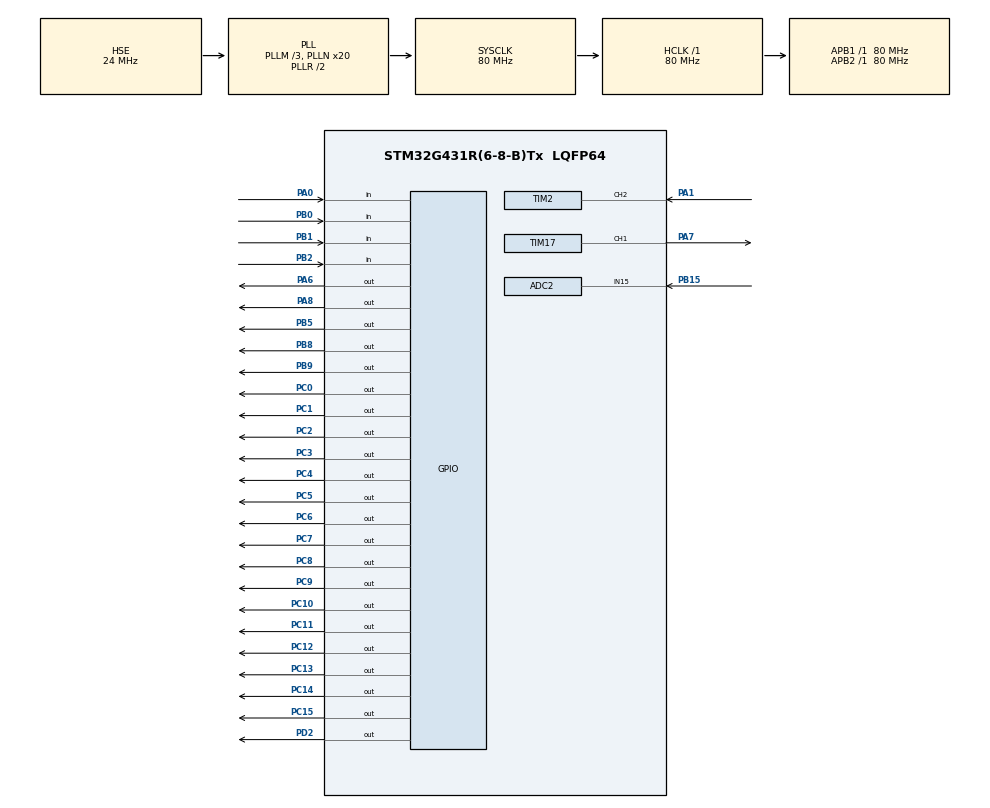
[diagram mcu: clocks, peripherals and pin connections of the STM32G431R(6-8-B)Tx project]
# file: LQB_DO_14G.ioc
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ADC2.Channel-0\#ChannelRegularConversion=ADC_CHANNEL_15
ADC2.NbrOfConversionFlag=1
ADC2.OffsetNumber-0\#ChannelRegularConversion=ADC_OFFSET_NONE
ADC2.Rank-0\#ChannelRegularConversion=1
ADC2.SamplingTime-0\#ChannelRegularConversion=ADC_SAMPLETIME_2CYCLES_5
Mcu.Family=STM32G4
Mcu.Name=STM32G431R(6-8-B)Tx
Mcu.Package=LQFP64
NVIC.PriorityGroup=NVIC_PRIORITYGROUP_4
NVIC.TIM2_IRQn=true\:0\:0\:false\:false\:true\:true\:true
NVIC.TIM6_DAC_IRQn=true\:0\:0\:false\:false\:true\:true\:true
PA0.Signal=GPIO_Input
PA1.Signal=S_TIM2_CH2
PA13.Mode=Serial_Wire
PA13.Signal=SYS_JTMS-SWDIO
PA14.Mode=Serial_Wire
PA14.Signal=SYS_JTCK-SWCLK
PA6.Signal=GPIO_Output
PA7.Signal=S_TIM17_CH1
PA8.Signal=GPIO_Output
PB0.Signal=GPIO_Input
PB1.Signal=GPIO_Input
PB15.Mode=IN15-Single-Ended
PB15.Signal=ADC2_IN15
PB2.Signal=GPIO_Input
PB5.Signal=GPIO_Output
PB8-BOOT0.Signal=GPIO_Output
PB9.Signal=GPIO_Output
PC0.Signal=GPIO_Output
PC1.Signal=GPIO_Output
PC10.Signal=GPIO_Output
PC11.Signal=GPIO_Output
PC12.Signal=GPIO_Output
PC13.Signal=GPIO_Output
PC14-OSC32_IN.Signal=GPIO_Output
PC15-OSC32_OUT.Signal=GPIO_Output
PC2.Signal=GPIO_Output
PC3.Signal=GPIO_Output
PC4.Signal=GPIO_Output
PC5.Signal=GPIO_Output
PC6.Signal=GPIO_Output
PC7.Signal=GPIO_Output
PC8.Signal=GPIO_Output
PC9.Signal=GPIO_Output
PD2.Signal=GPIO_Output
PF0-OSC_IN.Mode=HSE-External-Oscillator
PF0-OSC_IN.Signal=RCC_OSC_IN
PF1-OSC_OUT.Mode=HSE-External-Oscillator
PF1-OSC_OUT.Signal=RCC_OSC_OUT
ProjectManager.HeapSize=0x200
ProjectManager.StackSize=0x400
ProjectManager.TargetToolchain=MDK-ARM V5
RCC.ADC12Freq_Value=80000000
RCC.AHBFreq_Value=80000000
RCC.APB1Freq_Value=80000000
RCC.APB1TimFreq_Value=80000000
RCC.APB2Freq_Value=80000000
RCC.APB2TimFreq_Value=80000000
RCC.CortexFreq_Value=80000000
RCC.EXTERNAL_CLOCK_VALUE=12288000
RCC.HCLKFreq_Value=80000000
RCC.HSE_VALUE=24000000
RCC.HSI48_VALUE=48000000
RCC.HSI_VALUE=16000000
RCC.LSE_VALUE=32768
RCC.PLLM=RCC_PLLM_DIV3
RCC.PLLN=20
RCC.PLLSourceVirtual=RCC_PLLSOURCE_HSE
RCC.SYSCLKFreq_VALUE=80000000
RCC.SYSCLKSource=RCC_SYSCLKSOURCE_PLLCLK
RCC.USBFreq_Value=80000000
RCC.VCOOutputFreq_Value=160000000
SH.S_TIM17_CH1.0=TIM17_CH1,PWM Generation1 CH1
SH.S_TIM2_CH2.0=TIM2_CH2,Input_Capture2_from_TI2
SH.S_TIM2_CH2.1=TIM2_CH2,Input_Capture1_from_TI2
TIM17.Channel=TIM_CHANNEL_1
TIM17.PeriodNoDither=99
TIM17.Prescaler=799
TIM17.PulseNoDither_1=50
TIM2.Channel-Input_Capture1_from_TI2=TIM_CHANNEL_1
TIM2.Channel-Input_Capture2_from_TI2=TIM_CHANNEL_2
TIM2.ICPolarity_CH1=TIM_INPUTCHANNELPOLARITY_FALLING
TIM2.PeriodNoDither=0xffff
TIM2.Prescaler=79
TIM6.PeriodNoDither=999
TIM6.Prescaler=799
VP_SYS_VS_DBSignals.Mode=DisableDeadBatterySignals
VP_TIM17_VS_ClockSourceINT.Mode=Enable_Timer
VP_TIM6_VS_ClockSourceINT.Mode=Enable_Timer
board=custom

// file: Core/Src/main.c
/* USER CODE BEGIN Header */
/**
  ******************************************************************************
  * @file           : main.c
  * @brief          : Main program body
  ******************************************************************************
  * @attention
  *
  * <h2><center>&copy; Copyright (c) 2023 STMicroelectronics.
  * All rights reserved.</center></h2>
  *
  * This software component is licensed by ST under BSD 3-Clause license,
  * the "License"; You may not use this file except in compliance with the
  * License. You may obtain a copy of the License at:
  *                        opensource.org/licenses/BSD-3-Clause
  *
  ******************************************************************************
  */
/* USER CODE END Header */
#include "main.h"
#include "adc.h"
#include "tim.h"
#include "gpio.h"

/* USER CODE BEGIN Includes */
#include "lcd.h"
#include "i2c_hal.h"
#include "ds18b20_hal.h"
/* USER CODE END Includes */

/* USER CODE BEGIN PTD */
typedef struct
{
	bool key_sta,single_sta,long_sta;
	unsigned char judge_sta,time_sta;
}keys;
typedef struct
{
	double frq[110],v[110];
	unsigned char duty[110],meoflag,meotimes;
	bool test;
}FSET;
typedef struct
{
	unsigned char time1,time2;
	bool flag1,flag2;
}mflags;
/* USER CODE END PTD */

/* USER CODE BEGIN PV */
keys key[4] = { 0 };
unsigned char page=0,TH[2]={30,30},FN=0,AN=0,TN=0,FP=1,TT=6,line=0,line3=0,TTIME=0;
bool led1_sta=0;
char text[30];
double F[2]={0},D=0,A[2]={0},T[3]={0},AH[2]={3.0,3.0},VP=0.9,ftim2[3]={0};
int FH[2]={2000,2000};
FSET meo={0};
mflags mflagf={0},mflagv={0};
/* USER CODE END PV */

void SystemClock_Config(void);
/* USER CODE BEGIN PFP */
void LED_Proc(unsigned char led,unsigned char sta);
void LCD_Proc(void);
void KEY_Proc(void);
void ADCVlaue(void);
/* USER CODE END PFP */

int main(void)
{

  /* MCU Configuration--------------------------------------------------------*/

  /* Reset of all peripherals, Initializes the Flash interface and the Systick. */
  HAL_Init();

  /* Configure the system clock */
  SystemClock_Config();

  /* Initialize all configured peripherals */
  MX_GPIO_Init();
  MX_TIM6_Init();
  MX_ADC2_Init();
  MX_TIM2_Init();
  MX_TIM17_Init();
  /* USER CODE BEGIN 2 */
	//LCD_Init
	LCD_Init();
	LCD_Clear(Black);
	LCD_SetBackColor(Black);
	LCD_SetTextColor(White);
	//TIM6_INIT
	HAL_TIM_Base_Start_IT(&htim6);
	//TIM2_INIT
	HAL_TIM_IC_Start_IT(&htim2,TIM_CHANNEL_1);
	HAL_TIM_IC_Start_IT(&htim2,TIM_CHANNEL_2);
	//ADC_INIT
	HAL_ADCEx_Calibration_Start(&hadc2,ADC_SINGLE_ENDED);
	//LED_INIT
	LED_Proc(1,0);

  /* USER CODE END 2 */

  /* Infinite loop */
  /* USER CODE BEGIN WHILE */
  while (1)
  {
		LCD_Proc();
		if(meo.meoflag == 0) KEY_Proc();
		else for(int k=0;k<4;k++) key[k].single_sta = 0,key[k].long_sta = 0;
    /* USER CODE END WHILE */

  }
}

void SystemClock_Config(void)
{
  RCC_OscInitTypeDef RCC_OscInitStruct = {0};
  RCC_ClkInitTypeDef RCC_ClkInitStruct = {0};
  RCC_PeriphCLKInitTypeDef PeriphClkInit = {0};

  /** Configure the main internal regulator output voltage
  */
  HAL_PWREx_ControlVoltageScaling(PWR_REGULATOR_VOLTAGE_SCALE1);
  /** Initializes the RCC Oscillators according to the specified parameters
  * in the RCC_OscInitTypeDef structure.
  */
  RCC_OscInitStruct.OscillatorType = RCC_OSCILLATORTYPE_HSE;
  RCC_OscInitStruct.HSEState = RCC_HSE_ON;
  RCC_OscInitStruct.PLL.PLLState = RCC_PLL_ON;
  RCC_OscInitStruct.PLL.PLLSource = RCC_PLLSOURCE_HSE;
  RCC_OscInitStruct.PLL.PLLM = RCC_PLLM_DIV3;
  RCC_OscInitStruct.PLL.PLLN = 20;
  RCC_OscInitStruct.PLL.PLLP = RCC_PLLP_DIV2;
  RCC_OscInitStruct.PLL.PLLQ = RCC_PLLQ_DIV2;
  RCC_OscInitStruct.PLL.PLLR = RCC_PLLR_DIV2;
  if (HAL_RCC_OscConfig(&RCC_OscInitStruct) != HAL_OK)
  {
    Error_Handler();
  }
  /** Initializes the CPU, AHB and APB buses clocks
  */
  RCC_ClkInitStruct.ClockType = RCC_CLOCKTYPE_HCLK|RCC_CLOCKTYPE_SYSCLK
                              |RCC_CLOCKTYPE_PCLK1|RCC_CLOCKTYPE_PCLK2;
  RCC_ClkInitStruct.SYSCLKSource = RCC_SYSCLKSOURCE_PLLCLK;
  RCC_ClkInitStruct.AHBCLKDivider = RCC_SYSCLK_DIV1;
  RCC_ClkInitStruct.APB1CLKDivider = RCC_HCLK_DIV1;
  RCC_ClkInitStruct.APB2CLKDivider = RCC_HCLK_DIV1;

  if (HAL_RCC_ClockConfig(&RCC_ClkInitStruct, FLASH_LATENCY_2) != HAL_OK)
  {
    Error_Handler();
  }
  /** Initializes the peripherals clocks
  */
  PeriphClkInit.PeriphClockSelection = RCC_PERIPHCLK_ADC12;
  PeriphClkInit.Adc12ClockSelection = RCC_ADC12CLKSOURCE_SYSCLK;
  if (HAL_RCCEx_PeriphCLKConfig(&PeriphClkInit) != HAL_OK)
  {
    Error_Handler();
  }
}

/* USER CODE BEGIN 4 */
/********************************************************************
*TIM6:0.01S
*TIM6
********************************************************************/
void HAL_TIM_PeriodElapsedCallback(TIM_HandleTypeDef *htim)
{
	if(htim->Instance == TIM6)
	{
		TTIME++;
		if(TTIME >= 10)
		{
			ADCVlaue();
			T[0] = TEMP_READ();
			if(T[0]<90 && T[0]>0) T[1] = T[0];

			if(F[1] > FH[1] && F[0] <= FH[1]) LED_Proc(4,1),FN++;
			else if(F[1] <= FH[1] && F[0] > FH[1])LED_Proc(4,0);
			if(A[1] > AH[1] && A[0] <= AH[1]) LED_Proc(5,1),AN++;
			else if(A[1] <= AH[1] && A[0] > AH[1])LED_Proc(5,0);
			if(T[1] > TH[1] && T[2] <= TH[1]) LED_Proc(6,1),TN++;
			else if(T[1] <= TH[1] && T[2] > TH[1])LED_Proc(6,0);
			F[0] = F[1];
			A[0] = A[1];
			T[2] = T[1];
			TTIME = 0;
			if(meo.meoflag == 1)
			{
				led1_sta = 1 - led1_sta;
				LED_Proc(1,led1_sta);
				meo.duty[meo.meotimes] = D;
				meo.frq[meo.meotimes] = F[1];
				meo.v[meo.meotimes] = A[1];
				meo.meotimes++;
				mflagf.time1++;
				mflagv.time1++;
			}
			if((TT * 10) <= (meo.meotimes))
			{
				LED_Proc(1,0);
				meo.meotimes = 0;
				meo.meoflag = 0;
				meo.test = 1;
			}

			if(mflagf.flag1 == 1 && mflagv.flag1 != 1)
			{
				mflagf.flag2 = 1 - mflagf.flag2;
				LED_Proc(2,mflagf.flag2);
				__HAL_TIM_SetCompare(&htim17,TIM_CHANNEL_1,meo.duty[mflagf.time2-mflagf.time1]);
				htim17.Init.Prescaler = (int)(800000/meo.frq[mflagf.time2-mflagf.time1]*FP)-1;
				HAL_TIM_Base_Init(&htim17);
				HAL_TIM_PWM_Start(&htim17,TIM_CHANNEL_1);
				if(mflagf.time1 == 0)
				{
					mflagf.flag1 = 0;
					mflagf.time1 = mflagf.time2+1;
					LED_Proc(2,0);
					HAL_TIM_PWM_Stop(&htim17,TIM_CHANNEL_1);
				}
				if(mflagf.time1 > 0) mflagf.time1--;
			}
			else if(mflagf.flag1 == 1 && mflagv.flag1 == 1)
			{
				if(mflagv.time1 > mflagf.time1) mflagv.flag1=0;
				else mflagf.flag1=0;
			}

			if(mflagv.flag1 == 1 && mflagf.flag1 != 1)
			{
				mflagv.flag2 = 1 - mflagv.flag2;
				LED_Proc(3,mflagv.flag2);
				unsigned char d = (int)((90/(3.3-VP)*(meo.v[mflagf.time2-mflagf.time1]-VP))+10);
				if(d < 10) d = 10;
				if(d > 100) d = 100;
				__HAL_TIM_SetCompare(&htim17,TIM_CHANNEL_1,d);
				if(mflagv.time1 == 0)
				{
					mflagv.flag1 = 0;
					mflagv.time1 = mflagv.time2+1;
					LED_Proc(3,0);
					HAL_TIM_PWM_Stop(&htim17,TIM_CHANNEL_1);
				}
				if(mflagv.time1 > 0) mflagv.time1--;
			}
		}
		key[0].key_sta = HAL_GPIO_ReadPin(GPIOB,GPIO_PIN_0);
		key[1].key_sta = HAL_GPIO_ReadPin(GPIOB,GPIO_PIN_1);
		key[2].key_sta = HAL_GPIO_ReadPin(GPIOB,GPIO_PIN_2);
		key[3].key_sta = HAL_GPIO_ReadPin(GPIOA,GPIO_PIN_0);
		for(int i=0;i<4;i++)
		{
			switch(key[i].judge_sta)
			{
				case 0:
				{
					if(key[i].key_sta == 0) key[i].judge_sta = 1;
				}
				break;
				case 1:
				{
					if(key[i].key_sta == 0) key[i].judge_sta = 2;
					else key[i].judge_sta = 0;
				}
				break;
				case 2:
				{
					key[i].time_sta++;
					if(key[i].key_sta == 0 && key[i].time_sta >= 200)
					{
						key[i].judge_sta = 3;
						key[i].time_sta = 0;
						key[i].long_sta = 1;
					}
					else if(key[i].key_sta == 1 && key[i].time_sta < 200)
					{
						key[i].judge_sta = 0;
						key[i].single_sta = 1;
						key[i].time_sta = 0;
					}
				}
				break;
				case 3:
				{
					if(key[i].key_sta == 1) key[i].judge_sta = 0;
				}
				break;
			}
		}
	}
}
/********************************************************************
*按键操作函数
*KEY_Proc
********************************************************************/
void KEY_Proc(void)
{
	if(key[0].single_sta == 1)
	{
		page = page >= 3?0:page+1;
		if(page == 1) line = 0;
		if(page == 2)
		{

			if(FH[0] < F[1] && FH[1] != FH[0]) LED_Proc(4,1),FN++;
			else if(FH[0] > F[1])LED_Proc(4,0);
			FH[1] = FH[0];

			if(AH[0] < A[1] && AH[1] != AH[0]) LED_Proc(5,1),AN++;
			else if(AH[0] > A[1])LED_Proc(5,0);
			AH[1] = AH[0];

			if(TH[0] < T[1] && TH[1] != TH[0]) LED_Proc(6,1),TN++;
			else if(TH[0] > T[1])LED_Proc(6,0);
			TH[1] = TH[0];
		}
		if(page == 3) line3 = 0;
		key[0].single_sta = 0;
	}
	if(key[1].single_sta == 1)
	{
		if(page == 0)
		{
			for(int o=0;o<110;o++)
			{
				meo.duty[o] = 0;
				meo.frq[o] = 0;
				meo.v[o] = 0;
			}
			mflagf.time1=0;
			mflagv.time1=0;
			meo.meoflag = 1;
		}
		else if(page == 1)
		{
			line = line == 2?0:line+1;
		}
		else if(page == 3)
		{
			line3 = line3 == 2?0:line3+1;
		}
		else if(page == 2)
		{
			FN = 0;
			AN = 0;
			TN = 0;
		}
		key[1].single_sta = 0;
	}
	if(key[2].single_sta == 1)
	{
		if(page == 1)
		{
			if(line == 0) FH[0] = FH[0] >= 10000?10000:FH[0]+1000;
			else if(line == 1) AH[0] = AH[0] >=3.2?3.3:AH[0]+0.3;
			else if(line == 2) TH[0] = TH[0] >=80?80:TH[0]+1;
		}
		else if(page == 3)
		{
			if(line3 == 0) FP = FP >= 10?10:FP+1;
			else if(line3 == 1) VP = VP >=3.2?3.3:VP+0.3;
			else if(line3 == 2) TT = TT >=10?10:TT+2;
		}
		else if(page == 0)
		{
			//VVVVVVV
			if(meo.test == 1)
			{
				mflagv.flag1 = 1;
				mflagv.time2 = mflagv.time1;
				htim17.Init.Prescaler = 799;
				HAL_TIM_Base_Init(&htim17);
				HAL_TIM_PWM_Start(&htim17,TIM_CHANNEL_1);
			}
		}
		key[2].single_sta = 0;
	}
	if(key[3].single_sta == 1)
	{
		if(page == 1)
		{
			if(line == 0) FH[0] = FH[0] <= 1000?1000:FH[0]-1000;
			else if(line == 1) AH[0] = AH[0] <=0.1?0:AH[0]-0.3;
			else if(line == 2) TH[0] = TH[0] <=0?0:TH[0]-1;
		}
		else if(page == 3)
		{
			if(line3 == 0) FP = FP <= 1?1:FP-1;
			else if(line3 == 1) VP = VP <=0.1?0:VP-0.3;
			else if(line3 == 2) TT = TT <=2?2:TT-2;
		}
		else if(page == 0)
		{
			//FFFFFFF
			if(meo.test == 1)
			{
				mflagf.flag1 = 1;
				mflagf.time2 = mflagf.time1;
			}
		}
		key[3].single_sta = 0;
	}
	if(key[2].long_sta == 1)
	{
		page=0,TH[0]=30,TH[1] = 30,FN=0,AN=0,TN=0,FP=1,TT=6,line=0,line3=0,TTIME=0,AH[0]=3.0,AH[1]=3.0,VP=0.9,FH[0]=2000,FH[1]=2000,meo.test = 0,mflagf.time1=0,mflagv.time1=0;
		key[2].long_sta = 0;
	}
	if(key[3].long_sta == 1)
	{
		page=0,TH[0]=30,TH[1] = 30,FN=0,AN=0,TN=0,FP=1,TT=6,line=0,line3=0,TTIME=0,AH[0]=3.0,AH[1]=3.0,VP=0.9,FH[0]=2000,FH[1]=2000,meo.test = 0,mflagf.time1=0,mflagv.time1=0;
		key[3].long_sta = 0;
	}
}
/********************************************************************
*LCD显示函数
*LCD_Proc
********************************************************************/
void LCD_Proc(void)
{
	if(page == 0)
	{
		LCD_DisplayStringLine(Line1,(u8 *)"        DATA        ");
		sprintf(text,"     F=%.0f       ",F[1]);
		LCD_DisplayStringLine(Line3,(u8 *)text);
		sprintf(text,"     D=%.0f%%       ",D);
		LCD_DisplayStringLine(Line4,(u8 *)text);
		sprintf(text,"     A=%.1f       ",A[1]);
		LCD_DisplayStringLine(Line5,(u8 *)text);
		sprintf(text,"     T=%.1f       ",T[1]);
		LCD_DisplayStringLine(Line6,(u8 *)text);
	}
	else if(page == 1)
	{
		LCD_DisplayStringLine(Line1,(u8 *)"        PARA        ");
		sprintf(text,"     FH=%d       ",FH[0]);
		LCD_DisplayStringLine(Line3,(u8 *)text);
		sprintf(text,"     AH=%.1f       ",AH[0]);
		LCD_DisplayStringLine(Line4,(u8 *)text);
		sprintf(text,"     TH=%d       ",TH[0]);
		LCD_DisplayStringLine(Line5,(u8 *)text);
		LCD_DisplayStringLine(Line6,(u8 *)"                    ");

	}
	else if(page == 2)
	{
		LCD_DisplayStringLine(Line1,(u8 *)"        RECD        ");
		sprintf(text,"     FN=%d       ",FN);
		LCD_DisplayStringLine(Line3,(u8 *)text);
		sprintf(text,"     AN=%d       ",AN);
		LCD_DisplayStringLine(Line4,(u8 *)text);
		sprintf(text,"     TN=%d       ",TN);
		LCD_DisplayStringLine(Line5,(u8 *)text);
		LCD_DisplayStringLine(Line6,(u8 *)"                    ");
	}
	else if(page == 3)
	{
		LCD_DisplayStringLine(Line1,(u8 *)"        FSET        ");
		sprintf(text,"     FP=%d       ",FP);
		LCD_DisplayStringLine(Line3,(u8 *)text);
		sprintf(text,"     VP=%.1f       ",VP);
		LCD_DisplayStringLine(Line4,(u8 *)text);
		sprintf(text,"     TT=%d       ",TT);
		LCD_DisplayStringLine(Line5,(u8 *)text);
		LCD_DisplayStringLine(Line6,(u8 *)"                    ");
	}
	else page = 0;
}
/********************************************************************
*LED控制函数
*LED_Proc
********************************************************************/
void LED_Proc(unsigned char led,unsigned char sta)
{
	static unsigned char LED_STA = 0xff;
	if(sta == 0) LED_STA |= (0x01 << (led - 1));
	else if(sta == 1) LED_STA &= ~(0x01 << (led - 1));

	GPIOC->ODR = LED_STA << 8;
	HAL_GPIO_WritePin(GPIOD,GPIO_PIN_2,GPIO_PIN_SET);
	HAL_GPIO_WritePin(GPIOD,GPIO_PIN_2,GPIO_PIN_RESET);
}
/********************************************************************
*TIM2_Proc
********************************************************************/
void HAL_TIM_IC_CaptureCallback(TIM_HandleTypeDef *htim)
{
	if(htim->Instance == TIM2)
	{
		if(htim->Channel == HAL_TIM_ACTIVE_CHANNEL_2)
		{
			ftim2[0] = HAL_TIM_ReadCapturedValue(htim,TIM_CHANNEL_2);
			ftim2[1] = HAL_TIM_ReadCapturedValue(htim,TIM_CHANNEL_1);
			__HAL_TIM_SetCounter(htim,0);
			D = ftim2[1] / ftim2[0] * 100;
			if(D>100 || D<0) D = 50;
			if(ftim2[0] != 0) F[1] = 1000000/ftim2[0];
			HAL_TIM_IC_Start(htim,TIM_CHANNEL_1);
			HAL_TIM_IC_Start(htim,TIM_CHANNEL_2);
		}
	}
}
/********************************************************************
*ADCValue
********************************************************************/
void ADCVlaue(void)
{
	HAL_ADC_Start(&hadc2);
	A[1] = HAL_ADC_GetValue(&hadc2);
	A[1] = A[1] / 4095 * 3.3;
}
/* USER CODE END 4 */

void Error_Handler(void)
{
  __disable_irq();
  while (1)
  {
  }
}

/************************ (C) COPYRIGHT STMicroelectronics *****END OF FILE****/
